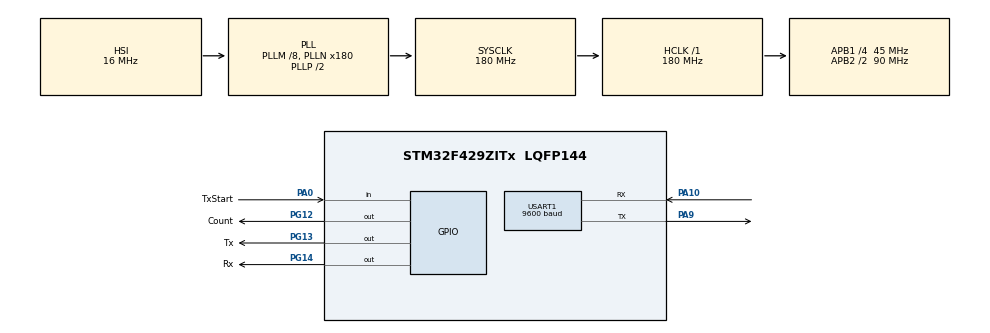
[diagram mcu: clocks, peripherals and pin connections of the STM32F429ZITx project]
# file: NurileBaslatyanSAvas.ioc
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Mcu.Family=STM32F4
Mcu.Name=STM32F429ZITx
Mcu.Package=LQFP144
NVIC.PriorityGroup=NVIC_PRIORITYGROUP_4
NVIC.TIM7_IRQn=true\:0\:0\:false\:false\:true\:true\:true
NVIC.USART1_IRQn=true\:0\:0\:false\:false\:true\:true\:true
PA0/WKUP.GPIO_Label=TxStart
PA0/WKUP.GPIO_PuPd=GPIO_PULLDOWN
PA0/WKUP.Signal=GPIO_Input
PA10.Mode=Asynchronous
PA10.Signal=USART1_RX
PA13.Mode=Serial_Wire
PA13.Signal=SYS_JTMS-SWDIO
PA14.Mode=Serial_Wire
PA14.Signal=SYS_JTCK-SWCLK
PA9.Mode=Asynchronous
PA9.Signal=USART1_TX
PG12.GPIO_Label=Count
PG12.Signal=GPIO_Output
PG13.GPIO_Label=Tx
PG13.Signal=GPIO_Output
PG14.GPIO_Label=Rx
PG14.Signal=GPIO_Output
PH0/OSC_IN.Mode=HSE-External-Oscillator
PH0/OSC_IN.Signal=RCC_OSC_IN
PH1/OSC_OUT.Mode=HSE-External-Oscillator
PH1/OSC_OUT.Signal=RCC_OSC_OUT
ProjectManager.HeapSize=0x200
ProjectManager.StackSize=0x400
ProjectManager.TargetToolchain=MDK-ARM V5.27
RCC.48MHZClocksFreq_Value=90000000
RCC.AHBFreq_Value=180000000
RCC.APB1CLKDivider=RCC_HCLK_DIV4
RCC.APB1Freq_Value=45000000
RCC.APB1TimFreq_Value=90000000
RCC.APB2CLKDivider=RCC_HCLK_DIV2
RCC.APB2Freq_Value=90000000
RCC.APB2TimFreq_Value=180000000
RCC.CortexFreq_Value=180000000
RCC.HCLKFreq_Value=180000000
RCC.HSE_VALUE=25000000
RCC.HSI_VALUE=16000000
RCC.LSE_VALUE=32768
RCC.PLLM=8
RCC.PLLN=180
RCC.SYSCLKFreq_VALUE=180000000
RCC.SYSCLKSource=RCC_SYSCLKSOURCE_PLLCLK
RCC.VCOOutputFreq_Value=360000000
TIM7.Period=59999
TIM7.Prescaler=14
USART1.BaudRate=9600
USART1.VirtualMode=VM_ASYNC
VP_TIM7_VS_ClockSourceINT.Mode=Enable_Timer
board=custom

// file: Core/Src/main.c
/* USER CODE BEGIN Header */
/**
  ******************************************************************************
  * @file           : main.c
  * @brief          : Main program body
  ******************************************************************************
  * @attention
  *
  * <h2><center>&copy; Copyright (c) 2021 STMicroelectronics.
  * All rights reserved.</center></h2>
  *
  * This software component is licensed by ST under BSD 3-Clause license,
  * the "License"; You may not use this file except in compliance with the
  * License. You may obtain a copy of the License at:
  *                        opensource.org/licenses/BSD-3-Clause
  *
  ******************************************************************************
  */
/* USER CODE END Header */
#include "main.h"

/* USER CODE BEGIN Includes */
#define  UartHaberUzulugu 50
#define RxStart 0xAB
/* USER CODE END Includes */

/* USER CODE BEGIN PTD */

uint8_t UartHaberlesmeBaslat=0;

uint8_t DataTx[UartHaberUzulugu];

uint8_t DataRx[UartHaberUzulugu];

uint8_t DataRxDogrulama=0;

uint8_t UartParemetre=0;

uint8_t UartHaberlesmeAdrsi=0xAB;

uint32_t TimeCount=0;

uint8_t UartCount=0;

uint32_t RealTime=0;
uint8_t ChecksumKontrol=0;
uint8_t GelenChecksum=0;
uint8_t GelenDataDogru=0;
/* USER CODE END PTD */

TIM_HandleTypeDef htim7;

UART_HandleTypeDef huart1;

void SystemClock_Config(void);
static void MX_GPIO_Init(void);
static void MX_TIM7_Init(void);
static void MX_USART1_UART_Init(void);

int main(void)
{

  /* MCU Configuration--------------------------------------------------------*/

  /* Reset of all peripherals, Initializes the Flash interface and the Systick. */
  HAL_Init();

  /* Configure the system clock */
  SystemClock_Config();

  /* Initialize all configured peripherals */
  MX_GPIO_Init();
  MX_TIM7_Init();
  MX_USART1_UART_Init();

  /* Infinite loop */
  /* USER CODE BEGIN WHILE */

		HAL_UART_Receive_IT(&huart1, DataRx, UartHaberUzulugu);

	__HAL_TIM_CLEAR_IT(&htim7, TIM_IT_UPDATE);
	HAL_TIM_Base_Start_IT(&htim7);	//50Ms
	DataTx[0]=UartHaberlesmeAdrsi;
	DataTx[1]=0x01;
	DataTx[UartHaberUzulugu-3]=0x10;
	DataTx[UartHaberUzulugu-4]=0x11;
	DataTx[UartHaberUzulugu-4]=0xF1;
  while (1)
  {

    /* USER CODE END WHILE */

  }
}

void SystemClock_Config(void)
{
  RCC_OscInitTypeDef RCC_OscInitStruct = {0};
  RCC_ClkInitTypeDef RCC_ClkInitStruct = {0};

  /** Configure the main internal regulator output voltage
  */
  __HAL_RCC_PWR_CLK_ENABLE();
  __HAL_PWR_VOLTAGESCALING_CONFIG(PWR_REGULATOR_VOLTAGE_SCALE1);
  /** Initializes the RCC Oscillators according to the specified parameters
  * in the RCC_OscInitTypeDef structure.
  */
  RCC_OscInitStruct.OscillatorType = RCC_OSCILLATORTYPE_HSI;
  RCC_OscInitStruct.HSIState = RCC_HSI_ON;
  RCC_OscInitStruct.HSICalibrationValue = RCC_HSICALIBRATION_DEFAULT;
  RCC_OscInitStruct.PLL.PLLState = RCC_PLL_ON;
  RCC_OscInitStruct.PLL.PLLSource = RCC_PLLSOURCE_HSI;
  RCC_OscInitStruct.PLL.PLLM = 8;
  RCC_OscInitStruct.PLL.PLLN = 180;
  RCC_OscInitStruct.PLL.PLLP = RCC_PLLP_DIV2;
  RCC_OscInitStruct.PLL.PLLQ = 4;
  if (HAL_RCC_OscConfig(&RCC_OscInitStruct) != HAL_OK)
  {
    Error_Handler();
  }
  /** Activate the Over-Drive mode
  */
  if (HAL_PWREx_EnableOverDrive() != HAL_OK)
  {
    Error_Handler();
  }
  /** Initializes the CPU, AHB and APB buses clocks
  */
  RCC_ClkInitStruct.ClockType = RCC_CLOCKTYPE_HCLK|RCC_CLOCKTYPE_SYSCLK
                              |RCC_CLOCKTYPE_PCLK1|RCC_CLOCKTYPE_PCLK2;
  RCC_ClkInitStruct.SYSCLKSource = RCC_SYSCLKSOURCE_PLLCLK;
  RCC_ClkInitStruct.AHBCLKDivider = RCC_SYSCLK_DIV1;
  RCC_ClkInitStruct.APB1CLKDivider = RCC_HCLK_DIV4;
  RCC_ClkInitStruct.APB2CLKDivider = RCC_HCLK_DIV2;

  if (HAL_RCC_ClockConfig(&RCC_ClkInitStruct, FLASH_LATENCY_5) != HAL_OK)
  {
    Error_Handler();
  }
}

static void MX_TIM7_Init(void)
{

  TIM_MasterConfigTypeDef sMasterConfig = {0};

  htim7.Instance = TIM7;
  htim7.Init.Prescaler = 14;
  htim7.Init.CounterMode = TIM_COUNTERMODE_UP;
  htim7.Init.Period = 59999;
  htim7.Init.AutoReloadPreload = TIM_AUTORELOAD_PRELOAD_DISABLE;
  if (HAL_TIM_Base_Init(&htim7) != HAL_OK)
  {
    Error_Handler();
  }
  sMasterConfig.MasterOutputTrigger = TIM_TRGO_RESET;
  sMasterConfig.MasterSlaveMode = TIM_MASTERSLAVEMODE_DISABLE;
  if (HAL_TIMEx_MasterConfigSynchronization(&htim7, &sMasterConfig) != HAL_OK)
  {
    Error_Handler();
  }

}

static void MX_USART1_UART_Init(void)
{

  huart1.Instance = USART1;
  huart1.Init.BaudRate = 9600;
  huart1.Init.WordLength = UART_WORDLENGTH_8B;
  huart1.Init.StopBits = UART_STOPBITS_1;
  huart1.Init.Parity = UART_PARITY_NONE;
  huart1.Init.Mode = UART_MODE_TX_RX;
  huart1.Init.HwFlowCtl = UART_HWCONTROL_NONE;
  huart1.Init.OverSampling = UART_OVERSAMPLING_16;
  if (HAL_UART_Init(&huart1) != HAL_OK)
  {
    Error_Handler();
  }

}

static void MX_GPIO_Init(void)
{
  GPIO_InitTypeDef GPIO_InitStruct = {0};

  /* GPIO Ports Clock Enable */
  __HAL_RCC_GPIOH_CLK_ENABLE();
  __HAL_RCC_GPIOA_CLK_ENABLE();
  __HAL_RCC_GPIOG_CLK_ENABLE();

  /*Configure GPIO pin Output Level */
  HAL_GPIO_WritePin(GPIOG, Count_Pin|Tx_Pin|Rx_Pin, GPIO_PIN_RESET);

  /*Configure GPIO pin : TxStart_Pin */
  GPIO_InitStruct.Pin = TxStart_Pin;
  GPIO_InitStruct.Mode = GPIO_MODE_INPUT;
  GPIO_InitStruct.Pull = GPIO_PULLDOWN;
  HAL_GPIO_Init(TxStart_GPIO_Port, &GPIO_InitStruct);

  /*Configure GPIO pins : Count_Pin Tx_Pin Rx_Pin */
  GPIO_InitStruct.Pin = Count_Pin|Tx_Pin|Rx_Pin;
  GPIO_InitStruct.Mode = GPIO_MODE_OUTPUT_PP;
  GPIO_InitStruct.Pull = GPIO_NOPULL;
  GPIO_InitStruct.Speed = GPIO_SPEED_FREQ_LOW;
  HAL_GPIO_Init(GPIOG, &GPIO_InitStruct);

}

/* USER CODE BEGIN 4 */
void HAL_UART_RxCpltCallback(UART_HandleTypeDef *huart)
{
	if(huart == &huart1)	//RPi
	{

		HAL_UART_Receive_IT(&huart1, DataRx, UartHaberUzulugu);
		HAL_GPIO_TogglePin(GPIOG,Rx_Pin);
		ChecksumKontrol=1;

//		if(DataRx[UartParemetre]==0xAB)UartParemetre++;
//		else
//		{
//		UartParemetre=0;
//		}
//		if(UartParemetre>=5)UartParemetre=0;
	}
}
void HAL_UART_ErrorCallback(UART_HandleTypeDef *huart)
{

	//HAL_UART_Stop(&huart1);		// ?
	//dummy=huart1.Instance->RDR;
	//HAL_UART_Receive_DMA(&huart1,rx_buff,25);

  __HAL_UART_DISABLE_IT(huart, UART_IT_TC);
  __HAL_UART_DISABLE_IT(huart, UART_IT_TXE);

  /* Check if a receive process is ongoing or not */
  if(huart->gState == HAL_UART_STATE_BUSY_TX_RX)
  {
    huart->gState = HAL_UART_STATE_BUSY_RX;
  }
  else
  {
    huart->gState = HAL_UART_STATE_READY;
  }
	//  HAL_UART_RxCpltCallback(huart);
}

unsigned checksum(uint8_t *buffer, int len)
{
	  buffer[len-1]=0;
		for(int i=0;i<len-1;i++)
	{
		buffer[len-1]=buffer[i]+buffer[len-1];
	}
      return buffer[UartHaberUzulugu-1];
}

void HAL_TIM_PeriodElapsedCallback(TIM_HandleTypeDef *htim)
{
	__HAL_TIM_CLEAR_IT(&htim7, TIM_IT_UPDATE);

	if(ChecksumKontrol==1)
	{
		ChecksumKontrol=0;

		 if(checksum(DataRx,UartHaberUzulugu) == DataRx[UartHaberUzulugu-1] && RxStart == DataRx[0] )
		 {
			 GelenDataDogru=1;
		 }
	}

	if(UartHaberlesmeBaslat==0&&TimeCount==5)
	{

	  DataTx[UartHaberUzulugu-1]=checksum(DataTx,UartHaberUzulugu);
		DataTx[UartHaberUzulugu-1]=DataTx[UartHaberUzulugu-1] & 0xFF;
		TimeCount=0;
		UartHaberlesmeBaslat=1;
		HAL_UART_Transmit_IT(&huart1,(uint8_t *)DataTx,UartHaberUzulugu);
		HAL_GPIO_TogglePin(GPIOG,Tx_Pin);
	}

	 if(HAL_GPIO_ReadPin(GPIOA,TxStart_Pin)==1)
 { DataTx[4]=0xF1;
	 HAL_UART_Transmit_IT(&huart1,(uint8_t *)DataTx,5);
	 UartHaberlesmeBaslat=0;
 }

	TimeCount++;
	if(TimeCount>10)
		{
		TimeCount=0;
 	  UartHaberlesmeBaslat=0;
	}

	HAL_GPIO_TogglePin(GPIOG,Count_Pin);
	RealTime=TIM7->CNT;

}

/* USER CODE END 4 */

void Error_Handler(void)
{
  __disable_irq();
  while (1)
  {
  }
}

/************************ (C) COPYRIGHT STMicroelectronics *****END OF FILE****/
